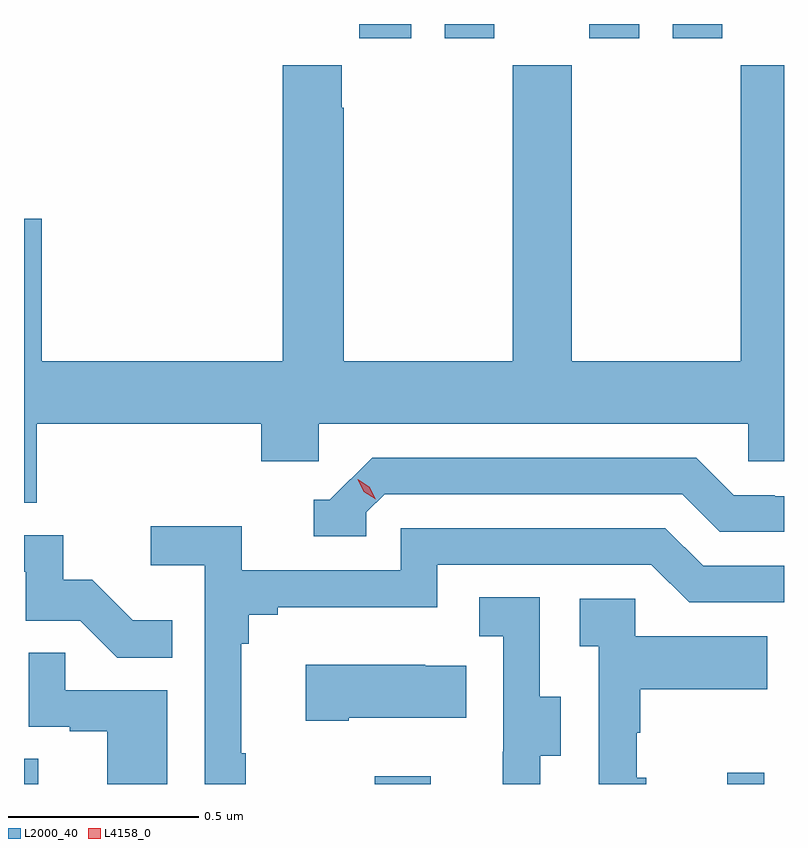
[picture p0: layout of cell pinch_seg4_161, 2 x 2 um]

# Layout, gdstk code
import gdstk
lib = gdstk.Library(unit=1e-6, precision=1e-09)
def R(c, l, rs):  # rectangles x0, y0, x1, y1
    for r in rs: c.add(gdstk.rectangle(r[:2], r[2:], *l))
def P(c, l, *ps):  # polygons
    for p in ps: c.add(gdstk.Polygon(p, *l))
L2000_40 = (2000, 40)
L4158_0 = (4158, 0)

pinch_seg4_161 = lib.new_cell('pinch_seg4_161')
R(pinch_seg4_161, L2000_40, [(1142.147,803.864,1142.185,803.93), (1143.07,803.864,1143.217,803.884), (1143.998,803.864,1144.095,803.893), (1143.029,805.827,1143.166,805.864), (1143.254,805.827,1143.385,805.864), (1143.635,805.827,1143.766,805.864), (1143.854,805.827,1143.985,805.864)])
P(pinch_seg4_161, L2000_40, [(1142.18,804.812),(1142.771,804.812),(1142.771,804.714),(1142.922,804.714),(1142.922,804.812),(1144.053,804.812),(1144.053,804.714),(1144.147,804.714),(1144.147,805.756),(1144.033,805.756),(1144.033,804.976),(1143.588,804.976),(1143.588,805.756),(1143.433,805.756),(1143.433,804.976),(1142.988,804.976),(1142.988,805.643),(1142.983,805.643),(1142.983,805.756),(1142.828,805.756),(1142.828,804.976),(1142.194,804.976),(1142.194,805.351),(1142.147,805.351),(1142.147,804.604),(1142.18,804.604)],
  [(1143.048,804.579),(1143.096,804.627),(1143.879,804.627),(1143.978,804.528),(1144.147,804.528),(1144.147,804.621),(1144.122,804.621),(1144.122,804.624),(1144.015,804.624),(1143.916,804.723),(1143.063,804.723),(1142.952,804.612),(1142.909,804.612),(1142.909,804.516),(1143.048,804.516)],
  [(1142.731,803.945),(1142.719,803.945),(1142.719,804.233),(1142.738,804.233),(1142.738,804.31),(1142.815,804.31),(1142.815,804.329),(1143.234,804.329),(1143.234,804.441),(1143.798,804.441),(1143.897,804.342),(1144.147,804.342),(1144.147,804.438),(1143.934,804.438),(1143.835,804.537),(1143.138,804.537),(1143.138,804.426),(1142.72,804.426),(1142.72,804.542),(1142.481,804.542),(1142.481,804.44),(1142.622,804.44),(1142.622,803.864),(1142.731,803.864)],
  [(1142.537,804.295),(1142.433,804.295),(1142.326,804.402),(1142.25,804.402),(1142.25,804.519),(1142.147,804.519),(1142.147,804.423),(1142.151,804.423),(1142.151,804.294),(1142.295,804.294),(1142.393,804.196),(1142.537,804.196)],
  [(1143.505,803.938),(1143.559,803.938),(1143.559,804.093),(1143.504,804.093),(1143.504,804.356),(1143.345,804.356),(1143.345,804.253),(1143.408,804.253),(1143.408,803.949),(1143.407,803.949),(1143.407,803.864),(1143.505,803.864)],
  [(1143.784,803.88),(1143.759,803.88),(1143.759,803.999),(1143.769,803.999),(1143.769,804.113),(1144.103,804.113),(1144.103,804.253),(1143.756,804.253),(1143.756,804.351),(1143.609,804.351),(1143.609,804.227),(1143.66,804.227),(1143.66,803.864),(1143.784,803.864)],
  [(1142.524,804.111),(1142.255,804.111),(1142.255,804.209),(1142.16,804.209),(1142.16,804.015),(1142.267,804.015),(1142.267,804.003),(1142.366,804.003),(1142.366,803.864),(1142.524,803.864)],
  [(1143.001,804.038),(1143.311,804.038),(1143.311,804.175),(1143.203,804.175),(1143.203,804.178),(1142.889,804.178),(1142.889,804.031),(1143.001,804.031)])
P(pinch_seg4_161, L4158_0, [(1143.072,804.613),(1143.041,804.633),(1143.025,804.665),(1143.025,804.666),(1143.025,804.666),(1143.056,804.646),(1143.072,804.613),(1143.072,804.613)])

lib.write_gds('pinch_seg4_161.gds')
